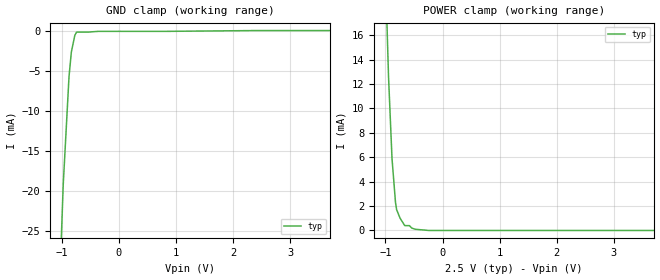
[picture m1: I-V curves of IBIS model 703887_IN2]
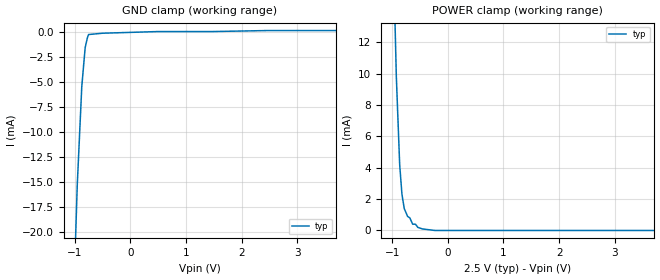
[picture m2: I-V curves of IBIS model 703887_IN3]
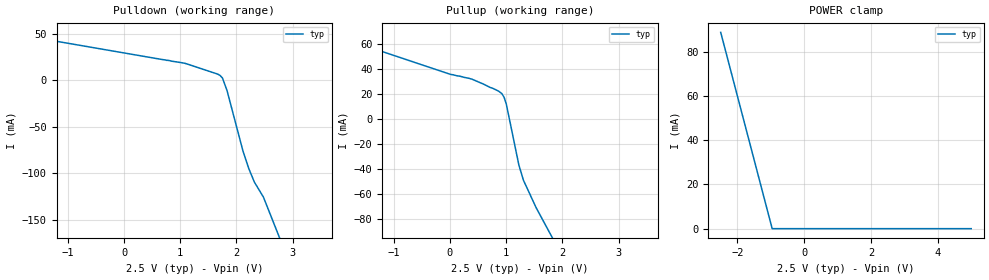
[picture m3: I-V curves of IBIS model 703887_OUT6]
| YOU ARE ONLY AUTHORIZED TO USE THIS SOFTWARE
| ACCORDING TO LICENSOR'S LICENSE RESTRICTIONS.
[IBIS Ver] 3.1
[File Name] mc100lvep16d_25v.ibs
[File Rev] 2.0
[Source] Measured and created by ICX Technology
[Date] Thursday 5/31/01 4:39:32 PM
[Copyright]
| (C) COPYRIGHT 1993-2001
| MENTOR GRAPHICS CORPORATION
| ICX STANDARD LIBRARY, ICX PROJECT MODELING,
| ICX CUSTOM MODELING, ICX VENDOR MODEL
| ALL RIGHTS RESERVED.
| THE FOLLOWING ARE TRADEMARKS OR SERVICE MARKS OF
| MENTOR GRAPHICS CORPORATION:ICX (R), ICX STANDARD
| LIBRARY(R), ICX PROJECT MODELING(R), ICX CUSTOM
| MODELING(R), qualityIBIS(TM), MODELVIEWER(TM),
| AND MODELEDITOR(TM)
| ALL COPIES OF SOFTWARE, INCLUDING BUT NOT LIMITED TO
| ANY MODIFICATIONS, ENHANCEMENTS OR DERIVATIVE WORKS,
| MUST CONTAIN ALL MENTOR GRAPHICS CORPORATION'S
| NOTICES AND LEGENDS, INCLUDING THOSE EMBEDDED IN
| SOFTWARE AND THOSE AFFIXED TO SOFTWARE MEDIUM
| AND CONTAINER, AS RECEIVED FROM MENTOR GRAPHICS
| CORPORATION.
|  ZAP Model Builder 3.1
[Component] MC100LVEP16D_25v
[Manufacturer] OnSemico
[Package]
| variable   typ   min   max
R_pkg  .152ohms NA NA
L_pkg  2.714nH NA NA
C_pkg  .364pF NA NA
[Pin] signal_name  model_name  R_pin  L_pin C_pin
1 NC NC .154 2.924n .374p
2 D 703887_IN2 .15 2.504n .354p
3 _D 703887_IN3 .15 2.504n .354p
4 VBB POWER .154 2.924n .374p
5 VEE GND .154 2.924n .374p
6 _Q 703887_OUT6 .15 2.504n .354p
7 Q 703887_OUT7 .15 2.504n .354p
8 VCC POWER .154 2.924n .374p
[Diff Pin] inv_pin vdiff tdelay_typ tdelay_min tdelay_max
2 3 275mV NA NA NA
7 6 NA NA NA NA
| Models and submodels in the file (4): 703887_IN2 (Input_ECL), 703887_IN3 (Input_ECL), 703887_OUT6 (Output_ECL), 703887_OUT7 (Output_ECL)
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| (C) COPYRIGHT 1993-2001
| MENTOR GRAPHICS CORPORATION
| ICX STANDARD LIBRARY, ICX PROJECT MODELING,
| ICX CUSTOM MODELING, ICX VENDOR MODEL
| ALL RIGHTS RESERVED.
| THE FOLLOWING ARE TRADEMARKS OR SERVICE MARKS OF
| MENTOR GRAPHICS CORPORATION:ICX (R), ICX STANDARD
| LIBRARY(R), ICX PROJECT MODELING(R), ICX CUSTOM
| MODELING(R), qualityIBIS(TM), MODELVIEWER(TM),
| AND MODELEDITOR(TM)
| ALL COPIES OF SOFTWARE, INCLUDING BUT NOT LIMITED TO
| ANY MODIFICATIONS, ENHANCEMENTS OR DERIVATIVE WORKS,
| MUST CONTAIN ALL MENTOR GRAPHICS CORPORATION'S
| NOTICES AND LEGENDS, INCLUDING THOSE EMBEDDED IN
| SOFTWARE AND THOSE AFFIXED TO SOFTWARE MEDIUM
| AND CONTAINER, AS RECEIVED FROM MENTOR GRAPHICS
| CORPORATION.
| Model Application Version 1.89 2/18/99.
[Model] 703887_IN2
Model_type Input_ECL
Vinl = 805.0mV
Vinh = 1.350V
C_comp 4.000pF NA NA
| variable typ   min   max
[Voltage Range] 2.500V NA NA
[GND Clamp Reference] 0.000V NA NA
[POWER Clamp Reference] 2.500V NA NA
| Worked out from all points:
|   GND clamp passes 1 mA (typ) near -0.78 V on its own axis
|   POWER clamp passes 1 mA (typ) near -0.74 V on its own axis
[GND Clamp]
-2.5V     -388.5mA   NA         NA
-1.095V   -43.6mA    NA         NA
-973mV    -19.2mA    NA         NA
-872mV    -5.7mA     NA         NA
-831mV    -2.6mA     NA         NA
-770mV    -500uA     NA         NA
-739.7mV  -100uA     NA         NA
-547.3mV  -100uA     NA         NA
-354.8mV  0A         NA         NA
861.5mV   0A         NA         NA
2.412V    100uA      NA         NA
5V        100uA      NA         NA
[POWER Clamp]
-2.5V     334.7mA    NA         NA
-1.067V   31.7mA     NA         NA
-946mV    12.6mA     NA         NA
-885mV    5.9mA      NA         NA
-824mV    2.3mA      NA         NA
-804mV    1.7mA      NA         NA
-743mV    1mA        NA         NA
-662mV    400uA      NA         NA
-581mV    400uA      NA         NA
-479mV    100uA      NA         NA
-239.5mV  0A         NA         NA
5V        0A         NA         NA
| (C) COPYRIGHT 1993-2001
| MENTOR GRAPHICS CORPORATION
| ICX STANDARD LIBRARY, ICX PROJECT MODELING,
| ICX CUSTOM MODELING, ICX VENDOR MODEL
| ALL RIGHTS RESERVED.
| THE FOLLOWING ARE TRADEMARKS OR SERVICE MARKS OF
| MENTOR GRAPHICS CORPORATION:ICX (R), ICX STANDARD
| LIBRARY(R), ICX PROJECT MODELING(R), ICX CUSTOM
| MODELING(R), qualityIBIS(TM), MODELVIEWER(TM),
| AND MODELEDITOR(TM)
| ALL COPIES OF SOFTWARE, INCLUDING BUT NOT LIMITED TO
| ANY MODIFICATIONS, ENHANCEMENTS OR DERIVATIVE WORKS,
| MUST CONTAIN ALL MENTOR GRAPHICS CORPORATION'S
| NOTICES AND LEGENDS, INCLUDING THOSE EMBEDDED IN
| SOFTWARE AND THOSE AFFIXED TO SOFTWARE MEDIUM
| AND CONTAINER, AS RECEIVED FROM MENTOR GRAPHICS
| CORPORATION.
| Model Application Version 1.89 2/18/99.
[Model] 703887_IN3
Model_type Input_ECL
Vinl = 805.0mV
Vinh = 1.350V
C_comp 4.000pF NA NA
| variable typ   min   max
[Voltage Range] 2.500V NA NA
[GND Clamp Reference] 0.000V NA NA
[POWER Clamp Reference] 2.500V NA NA
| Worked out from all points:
|   GND clamp passes 1 mA (typ) near -0.79 V on its own axis
|   POWER clamp passes 1 mA (typ) near -0.73 V on its own axis
[GND Clamp]
-2.5V     -357.9mA   NA         NA
-1.054V   -33mA      NA         NA
-953mV    -15.3mA    NA         NA
-872mV    -5.5mA     NA         NA
-811mV    -1.6mA     NA         NA
-770mV    -600uA     NA         NA
-750mV    -300uA     NA         NA
-500mV    -168.4uA   NA         NA
507mV     0A         NA         NA
1.49V     0A         NA         NA
2.473V    100uA      NA         NA
5V        100uA      NA         NA
[POWER Clamp]
-2.5V     321.1mA    NA         NA
-1.067V   30.5mA     NA         NA
-925mV    9.8mA      NA         NA
-865mV    4.2mA      NA         NA
-824mV    2.3mA      NA         NA
-783mV    1.4mA      NA         NA
-723mV    900uA      NA         NA
-682mV    800uA      NA         NA
-631.5mV  400uA      NA         NA
-540mV    200uA      NA         NA
-229.5mV  0A         NA         NA
5V        0A         NA         NA
| (C) COPYRIGHT 1993-2001
| MENTOR GRAPHICS CORPORATION
| ICX STANDARD LIBRARY, ICX PROJECT MODELING,
| ICX CUSTOM MODELING, ICX VENDOR MODEL
| ALL RIGHTS RESERVED.
| THE FOLLOWING ARE TRADEMARKS OR SERVICE MARKS OF
| MENTOR GRAPHICS CORPORATION:ICX (R), ICX STANDARD
| LIBRARY(R), ICX PROJECT MODELING(R), ICX CUSTOM
| MODELING(R), qualityIBIS(TM), MODELVIEWER(TM),
| AND MODELEDITOR(TM)
| ALL COPIES OF SOFTWARE, INCLUDING BUT NOT LIMITED TO
| ANY MODIFICATIONS, ENHANCEMENTS OR DERIVATIVE WORKS,
| MUST CONTAIN ALL MENTOR GRAPHICS CORPORATION'S
| NOTICES AND LEGENDS, INCLUDING THOSE EMBEDDED IN
| SOFTWARE AND THOSE AFFIXED TO SOFTWARE MEDIUM
| AND CONTAINER, AS RECEIVED FROM MENTOR GRAPHICS
| CORPORATION.
| Model Application Version 1.89 2/18/99.
[Model] 703887_OUT6
Model_type Output_ECL
Vref=500.0mV
Rref=50.00ohms
Cref=0.000F
Vmeas=1.080V
C_comp 6.000pF NA NA
| variable typ   min   max
[Voltage Range] 2.500V NA NA
[POWER Clamp Reference] 2.500V NA NA
[Pullup Reference] 2.500V NA NA
[Pulldown Reference] 2.500V NA NA
[GND Clamp Reference] 0.000V NA NA
[GND Clamp]
-2.5V     0A         NA         NA
5V        0A         NA         NA
[Pulldown]
-2.5V     55.36mA    NA         NA
1.081V    18.1mA     NA         NA
1.669V    6.4mA      NA         NA
1.75V     2.3mA      NA         NA
1.831V    -11mA      NA         NA
2.115V    -76.2mA    NA         NA
2.216V    -94.7mA    NA         NA
2.318V    -109.7mA   NA         NA
2.48V     -126mA     NA         NA
5V        -510.3mA   NA         NA
[Pullup]
-2.5V     73.48mA    NA         NA
12mV      35.8mA     NA         NA
397mV     31.9mA     NA         NA
762mV     24.7mA     NA         NA
924mV     20.5mA     NA         NA
965mV     17.5mA     NA         NA
1.005V    11.9mA     NA         NA
1.228V    -36.7mA    NA         NA
1.309V    -48.7mA    NA         NA
1.532V    -70.4mA    NA         NA
5V        -359.2mA   NA         NA
[POWER Clamp]
-2.5V     88.84mA    NA         NA
-959.3mV  0A         NA         NA
5V        0A         NA         NA
[Ramp]
| variable typ min max
dV/dt_r 337.8m/98.04p NA NA
dV/dt_f 337.8m/85.24p NA NA
R_load = 50.00Ohms
